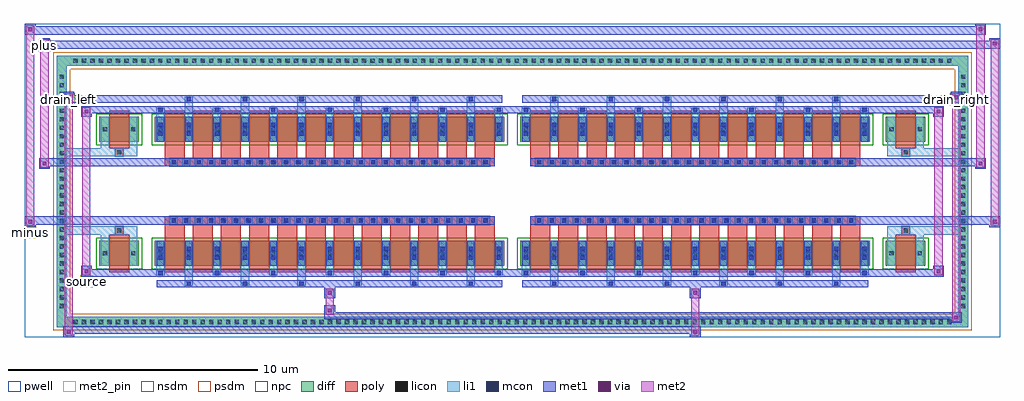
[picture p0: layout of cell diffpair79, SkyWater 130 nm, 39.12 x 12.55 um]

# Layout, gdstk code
import gdstk
lib = gdstk.Library(unit=1e-6, precision=5e-09)
def R(c, l, rs):  # rectangles x0, y0, x1, y1
    for r in rs: c.add(gdstk.rectangle(r[:2], r[2:], *l))
def A(c, l, x, y, w, h, nx, ny, dx, dy):  # array of equal rectangles
    R(c, l, [(x+i*dx, y+j*dy, x+i*dx+w, y+j*dy+h) for i in range(nx) for j in range(ny)])
def P(c, l, *ps):  # polygons
    for p in ps: c.add(gdstk.Polygon(p, *l))
pwell = (64, 44)
diff = (65, 20)
poly = (66, 20)
licon = (66, 44)
li1 = (67, 20)
mcon = (67, 44)
met1 = (68, 20)
via = (68, 44)
met2_pin = (69, 16)
met2 = (69, 20)
nsdm = (93, 44)
psdm = (94, 20)
npc = (95, 20)

diffpair79 = lib.new_cell('diffpair79')
R(diffpair79, pwell, [(-19.54,-5.84,19.54,6.71), (-16.86,-4.03,-0.01,-0.805), (0.01,-4.03,16.86,-0.805), (-16.86,0.805,-0.01,4.03), (0.01,0.805,16.86,4.03)])
A(diffpair79, diff, -17.715, -5.44, 0.41, 0.41, 104, 2, 0.34, 10.47)
A(diffpair79, diff, -18.27, -4.795, 0.41, 0.41, 1, 28, 0, 0.34)
A(diffpair79, diff, 17.86, -4.795, 0.41, 0.41, 1, 28, 0, 0.34)
R(diffpair79, diff, [(-17.715,-5.44,17.715,-5.03), (-18.27,-4.795,-17.86,4.795), (17.86,-4.795,18.27,4.795), (-16.55,-2.985,-14.97,-1.985), (-14.33,-2.985,-0.32,-1.985), (0.32,-2.985,14.33,-1.985), (14.97,-2.985,16.55,-1.985), (-16.55,1.985,-14.97,2.985), (-14.33,1.985,-0.32,2.985), (0.32,1.985,14.33,2.985), (14.97,1.985,16.55,2.985), (-17.715,5.03,17.715,5.44)])
P(diffpair79, diff, [(18.27,5.44),(-18.27,5.44),(-18.27,-5.03),(-17.86,-5.03),(-17.86,5.03),(17.86,5.03),(17.86,-5.03),(-17.86,-5.03),(-18.27,-5.03),(-18.27,-5.44),(18.27,-5.44)])
A(diffpair79, poly, -13.94, -3.235, 0.8, 1.5, 12, 2, 1.13, 4.97)
A(diffpair79, poly, 0.71, -3.235, 0.8, 1.5, 12, 2, 1.13, 4.97)
A(diffpair79, poly, -13.94, -1.735, 0.8, 0.4, 12, 2, 1.13, 3.07)
A(diffpair79, poly, 0.71, -1.735, 0.8, 0.4, 12, 2, 1.13, 3.07)
A(diffpair79, poly, -13.74, -1.335, 0.33, 0.33, 26, 2, 0.5, 2.34)
A(diffpair79, poly, 0.91, -1.335, 0.33, 0.33, 26, 2, 0.5, 2.34)
R(diffpair79, poly, [(-16.16,-3.235,-15.36,-1.735), (15.36,-3.235,16.16,-1.735), (-15.925,-1.735,-15.595,-1.405), (-15.925,-1.735,-15.595,-1.405), (15.595,-1.735,15.925,-1.405), (15.595,-1.735,15.925,-1.405), (-13.94,-1.335,-0.71,-1.005), (0.71,-1.335,13.94,-1.005), (-13.94,1.005,-0.71,1.335), (0.71,1.005,13.94,1.335), (-15.925,1.405,-15.595,1.735), (-15.925,1.405,-15.595,1.735), (15.595,1.405,15.925,1.735), (15.595,1.405,15.925,1.735), (-16.16,1.735,-15.36,3.235), (15.36,1.735,16.16,3.235)])
A(diffpair79, licon, -17.595, -5.32, 0.17, 0.17, 104, 2, 0.34, 10.47)
A(diffpair79, licon, -18.15, -4.675, 0.17, 0.17, 1, 28, 0, 0.34)
A(diffpair79, licon, 17.98, -4.675, 0.17, 0.17, 1, 28, 0, 0.34)
A(diffpair79, licon, -14.19, -2.57, 0.17, 0.17, 13, 2, 1.13, 4.97)
A(diffpair79, licon, 0.46, -2.57, 0.17, 0.17, 13, 2, 1.13, 4.97)
A(diffpair79, licon, -13.66, -1.255, 0.17, 0.17, 26, 2, 0.5, 2.34)
A(diffpair79, licon, 0.99, -1.255, 0.17, 0.17, 26, 2, 0.5, 2.34)
R(diffpair79, licon, [(-16.41,-2.57,-16.24,-2.4), (-15.28,-2.57,-15.11,-2.4), (15.11,-2.57,15.28,-2.4), (16.24,-2.57,16.41,-2.4), (-15.845,-1.655,-15.675,-1.485), (15.675,-1.655,15.845,-1.485), (-15.845,1.485,-15.675,1.655), (15.675,1.485,15.845,1.655), (-16.41,2.4,-16.24,2.57), (-15.28,2.4,-15.11,2.57), (15.11,2.4,15.28,2.57), (16.24,2.4,16.41,2.57)])
A(diffpair79, li1, -17.675, -5.4, 0.33, 0.33, 104, 2, 0.34, 10.47)
A(diffpair79, li1, -18.23, -4.755, 0.33, 0.33, 1, 28, 0, 0.34)
A(diffpair79, li1, 17.9, -4.755, 0.33, 0.33, 1, 28, 0, 0.34)
A(diffpair79, li1, -13.14, -3.79, 0.33, 0.805, 6, 2, 2.26, 6.775)
A(diffpair79, li1, -13.06, -3.79, 0.17, 0.17, 6, 2, 2.26, 7.41)
A(diffpair79, li1, 1.51, -3.79, 0.33, 0.805, 6, 2, 2.26, 6.775)
A(diffpair79, li1, 1.59, -3.79, 0.17, 0.17, 6, 2, 2.26, 7.41)
A(diffpair79, li1, -14.27, -3.36, 0.33, 0.375, 7, 2, 2.26, 6.345)
A(diffpair79, li1, -14.19, -3.36, 0.17, 0.17, 7, 2, 2.26, 6.55)
A(diffpair79, li1, 0.38, -3.36, 0.33, 0.375, 7, 2, 2.26, 6.345)
A(diffpair79, li1, 0.46, -3.36, 0.17, 0.17, 7, 2, 2.26, 6.55)
A(diffpair79, li1, -14.27, -2.985, 0.33, 1, 13, 2, 1.13, 4.97)
A(diffpair79, li1, 0.38, -2.985, 0.33, 1, 13, 2, 1.13, 4.97)
A(diffpair79, li1, -14.19, -2.75, 0.17, 0.17, 13, 2, 1.13, 0.36)
A(diffpair79, li1, -14.19, -2.75, 0.17, 0.53, 13, 2, 1.13, 4.97)
A(diffpair79, li1, 0.46, -2.75, 0.17, 0.17, 13, 2, 1.13, 0.36)
A(diffpair79, li1, 0.46, -2.75, 0.17, 0.53, 13, 2, 1.13, 4.97)
A(diffpair79, li1, -14.27, -2.65, 0.33, 0.33, 13, 2, 1.13, 4.97)
A(diffpair79, li1, 0.38, -2.65, 0.33, 0.33, 13, 2, 1.13, 4.97)
A(diffpair79, li1, -13.74, -1.335, 0.33, 0.33, 26, 2, 0.5, 2.34)
A(diffpair79, li1, 0.91, -1.335, 0.33, 0.33, 26, 2, 0.5, 2.34)
A(diffpair79, li1, -14.19, 2.22, 0.17, 0.17, 13, 2, 1.13, 0.36)
A(diffpair79, li1, 0.46, 2.22, 0.17, 0.17, 13, 2, 1.13, 0.36)
R(diffpair79, li1, [(-18.27,-5.44,-17.86,-5.03), (-18.27,-5.44,-17.86,-5.03), (-17.86,-5.44,17.86,-5.03), (17.86,-5.44,18.27,-5.03), (17.86,-5.44,18.27,-5.03), (-18.27,-5.03,-17.86,5.03), (17.86,-5.03,18.27,5.03), (-16.49,-2.985,-16.16,-1.985), (-15.36,-2.985,-15.03,-1.985), (15.03,-2.985,15.36,-1.985), (16.16,-2.985,16.49,-1.985), (-16.49,-2.65,-16.16,-2.32), (-15.36,-2.65,-15.03,-2.32), (15.03,-2.65,15.36,-2.32), (16.16,-2.65,16.49,-2.32), (-16.49,-1.985,-16.16,-1.405), (-15.36,-1.985,-15.03,-1.405), (15.03,-1.985,15.36,-1.405), (16.16,-1.985,16.49,-1.405), (-18.27,-1.735,-15.925,-1.405), (-16.49,-1.735,-15.925,-1.405), (-15.925,-1.735,-15.595,-1.405), (-15.595,-1.735,-15.03,-1.405), (15.03,-1.735,15.595,-1.405), (15.595,-1.735,15.925,-1.405), (15.595,-1.735,18.27,-1.405), (15.925,-1.735,16.49,-1.405), (-18.27,1.405,-15.925,1.735), (-16.49,1.405,-15.925,1.735), (-16.49,1.405,-16.16,1.985), (-15.925,1.405,-15.595,1.735), (-15.595,1.405,-15.03,1.735), (-15.36,1.405,-15.03,1.985), (15.03,1.405,15.595,1.735), (15.03,1.405,15.36,1.985), (15.595,1.405,15.925,1.735), (15.595,1.405,18.27,1.735), (15.925,1.405,16.49,1.735), (16.16,1.405,16.49,1.985), (-16.49,1.985,-16.16,2.985), (-15.36,1.985,-15.03,2.985), (15.03,1.985,15.36,2.985), (16.16,1.985,16.49,2.985), (-16.49,2.32,-16.16,2.65), (-15.36,2.32,-15.03,2.65), (15.03,2.32,15.36,2.65), (16.16,2.32,16.49,2.65), (-18.27,5.03,-17.86,5.44), (-18.27,5.03,-17.86,5.44), (-17.86,5.03,17.86,5.44), (17.86,5.03,18.27,5.44), (17.86,5.03,18.27,5.44)])
A(diffpair79, mcon, -13.06, -3.79, 0.17, 0.17, 6, 2, 2.26, 7.41)
A(diffpair79, mcon, 1.59, -3.79, 0.17, 0.17, 6, 2, 2.26, 7.41)
A(diffpair79, mcon, -14.19, -3.36, 0.17, 0.17, 7, 2, 2.26, 6.55)
A(diffpair79, mcon, 0.46, -3.36, 0.17, 0.17, 7, 2, 2.26, 6.55)
A(diffpair79, mcon, -14.19, -2.75, 0.17, 0.17, 13, 2, 1.13, 0.36)
A(diffpair79, mcon, 0.46, -2.75, 0.17, 0.17, 13, 2, 1.13, 0.36)
A(diffpair79, mcon, -13.66, -1.255, 0.17, 0.17, 26, 2, 0.5, 2.34)
A(diffpair79, mcon, 0.99, -1.255, 0.17, 0.17, 26, 2, 0.5, 2.34)
A(diffpair79, mcon, -14.19, 2.22, 0.17, 0.17, 13, 2, 1.13, 0.36)
A(diffpair79, mcon, 0.46, 2.22, 0.17, 0.17, 13, 2, 1.13, 0.36)
A(diffpair79, met1, -13.12, -3.85, 0.29, 0.29, 6, 2, 2.26, 7.41)
A(diffpair79, met1, 1.53, -3.85, 0.29, 0.29, 6, 2, 2.26, 7.41)
A(diffpair79, met1, -14.25, -3.42, 0.29, 0.29, 7, 2, 2.26, 6.55)
A(diffpair79, met1, 0.4, -3.42, 0.29, 0.29, 7, 2, 2.26, 6.55)
A(diffpair79, met1, -14.25, -2.985, 0.29, 1, 13, 2, 1.13, 4.97)
A(diffpair79, met1, 0.4, -2.985, 0.29, 1, 13, 2, 1.13, 4.97)
A(diffpair79, met1, -14.25, -2.81, 0.29, 0.29, 13, 2, 1.13, 0.36)
A(diffpair79, met1, 0.4, -2.81, 0.29, 0.29, 13, 2, 1.13, 0.36)
A(diffpair79, met1, -13.72, -1.315, 0.29, 0.29, 26, 2, 0.5, 2.34)
A(diffpair79, met1, 0.93, -1.315, 0.29, 0.29, 26, 2, 0.5, 2.34)
A(diffpair79, met1, -14.25, 2.16, 0.29, 0.29, 13, 2, 1.13, 0.36)
A(diffpair79, met1, 0.4, 2.16, 0.29, 0.29, 13, 2, 1.13, 0.36)
R(diffpair79, met1, [(-18,-5.84,-17.57,-5.41), (7.11,-5.84,7.54,-5.41), (-18,-5.7,7.54,-5.41), (17.57,-5.27,18,-4.84), (-7.54,-5.13,18,-4.84), (-7.54,-4.99,-7.11,-4.56), (-7.54,-4.28,-7.11,-3.85), (7.11,-4.28,7.54,-3.85), (-14.25,-3.85,-0.4,-3.56), (0.4,-3.85,14.25,-3.56), (-17.29,-3.42,-16.86,-2.99), (-17.29,-3.42,-14.25,-3.13), (-14.25,-3.42,-0.4,-3.13), (-0.4,-3.42,0.4,-3.13), (0.4,-3.42,14.25,-3.13), (14.25,-3.42,17.29,-3.13), (16.86,-3.42,17.29,-2.99), (-19.54,-1.435,-19.11,-1.005), (19.11,-1.435,19.54,-1.005), (-19.54,-1.335,-0.71,-1.005), (-13.94,-1.335,-0.71,-1.005), (0.71,-1.335,13.94,-1.005), (0.71,-1.335,19.54,-1.005), (-18.97,0.905,-18.54,1.335), (18.54,0.905,18.97,1.335), (-18.97,1.005,-13.94,1.335), (-13.94,1.005,-0.71,1.335), (0.71,1.005,13.94,1.335), (13.94,1.005,18.97,1.335), (-17.29,2.99,-16.86,3.42), (16.86,2.99,17.29,3.42), (-17.29,3.13,-14.25,3.42), (-14.25,3.13,-0.4,3.42), (-0.4,3.13,0.4,3.42), (0.4,3.13,14.25,3.42), (14.25,3.13,17.29,3.42), (-18,3.56,-17.57,3.99), (-18,3.56,-14.25,3.85), (-14.25,3.56,-0.4,3.85), (0.4,3.56,14.25,3.85), (14.25,3.56,18,3.85), (17.57,3.56,18,3.99), (-18.97,5.71,-18.54,6.14), (-18.97,5.71,-16.86,6.04), (-16.86,5.71,16.86,6.04), (16.86,5.71,19.54,6.04), (19.11,5.71,19.54,6.14), (-19.54,6.28,-19.11,6.71), (-19.54,6.28,-16.86,6.61), (-16.86,6.28,16.86,6.61), (16.86,6.28,18.97,6.61), (18.54,6.28,18.97,6.71)])
R(diffpair79, via, [(-17.86,-5.7,-17.71,-5.55), (7.25,-5.7,7.4,-5.55), (17.71,-5.13,17.86,-4.98), (-7.4,-4.85,-7.25,-4.7), (-7.4,-4.14,-7.25,-3.99), (7.25,-4.14,7.4,-3.99), (-17.15,-3.28,-17,-3.13), (17,-3.28,17.15,-3.13), (-19.4,-1.295,-19.25,-1.145), (19.25,-1.295,19.4,-1.145), (-18.83,1.045,-18.68,1.195), (18.68,1.045,18.83,1.195), (-17.15,3.13,-17,3.28), (17,3.13,17.15,3.28), (-17.86,3.7,-17.71,3.85), (17.71,3.7,17.86,3.85), (-18.83,5.85,-18.68,6), (19.25,5.85,19.4,6), (-19.4,6.42,-19.25,6.57), (18.68,6.42,18.83,6.57)])
R(diffpair79, met2_pin, [(-17.325,-3.87,-16.825,-3.37), (-19.575,-1.885,-19.075,-1.385), (-18.035,3.44,-17.535,3.94), (17.535,3.44,18.035,3.94), (-19.005,5.59,-18.505,6.09)])
R(diffpair79, met2, [(-17.95,-5.79,-17.62,-5.46), (-17.95,-5.79,-17.62,3.94), (7.16,-5.79,7.49,-5.46), (7.16,-5.46,7.49,-4.23), (17.62,-5.22,17.95,-4.89), (17.62,-5.22,17.95,3.94), (-7.49,-4.94,-7.16,-4.61), (-7.49,-4.61,-7.16,-4.23), (-7.49,-4.23,-7.16,-3.9), (7.16,-4.23,7.49,-3.9), (-17.24,-3.37,-16.91,-3.04), (-17.24,-3.37,-16.91,3.37), (16.91,-3.37,17.24,-3.04), (16.91,-3.37,17.24,3.37), (-19.49,-1.385,-19.16,-1.055), (-19.49,-1.385,-19.16,6.66), (19.16,-1.385,19.49,-1.055), (19.16,-1.385,19.49,6.09), (-18.92,0.955,-18.59,1.285), (-18.92,0.955,-18.59,6.09), (18.59,0.955,18.92,1.285), (18.59,0.955,18.92,6.66), (-17.24,3.04,-16.91,3.37), (16.91,3.04,17.24,3.37), (-17.95,3.61,-17.62,3.94), (17.62,3.61,17.95,3.94), (-18.92,5.76,-18.59,6.09), (19.16,5.76,19.49,6.09), (-19.49,6.33,-19.16,6.66), (18.59,6.33,18.92,6.66)])
P(diffpair79, met2, [(19.49,-1.385),(19.49,-1.385),(19.49,-1.055),(19.49,-1.055)],
  [(19.49,5.76),(19.49,5.76),(19.49,6.09),(19.49,6.09)],
  [(-19.16,-1.385),(-19.16,-1.385),(-19.16,-1.055),(-19.16,-1.055)],
  [(-19.16,6.33),(-19.16,6.33),(-19.16,6.66),(-19.16,6.66)],
  [(18.92,0.955),(18.92,0.955),(18.92,1.285),(18.92,1.285)],
  [(18.92,6.33),(18.92,6.33),(18.92,6.66),(18.92,6.66)],
  [(-18.59,0.955),(-18.59,0.955),(-18.59,1.285),(-18.59,1.285)],
  [(-18.59,5.76),(-18.59,5.76),(-18.59,6.09),(-18.59,6.09)],
  [(-17.62,-5.79),(-17.62,-5.79),(-17.62,-5.46),(-17.62,-5.46)],
  [(-17.62,3.61),(-17.62,3.61),(-17.62,3.94),(-17.62,3.94)],
  [(17.95,-5.22),(17.95,-5.22),(17.95,-4.89),(17.95,-4.89)],
  [(17.95,3.61),(17.95,3.61),(17.95,3.94),(17.95,3.94)],
  [(-16.91,-3.37),(-16.91,-3.37),(-16.91,-3.04),(-16.91,-3.04)],
  [(-16.91,3.04),(-16.91,3.04),(-16.91,3.37),(-16.91,3.37)],
  [(17.24,-3.37),(17.24,-3.37),(17.24,-3.04),(17.24,-3.04)],
  [(17.24,3.04),(17.24,3.04),(17.24,3.37),(17.24,3.37)])
R(diffpair79, nsdm, [(-16.68,-3.115,-14.84,-1.855), (-14.46,-3.115,-0.19,-1.855), (0.19,-3.115,14.46,-1.855), (14.84,-3.115,16.68,-1.855), (-16.68,1.855,-14.84,3.115), (-14.46,1.855,-0.19,3.115), (0.19,1.855,14.46,3.115), (14.84,1.855,16.68,3.115)])
P(diffpair79, psdm, [(18.4,5.57),(-18.4,5.57),(-18.4,-4.9),(-17.73,-4.9),(-17.73,4.9),(17.73,4.9),(17.73,-4.9),(-17.73,-4.9),(-18.4,-4.9),(-18.4,-5.57),(18.4,-5.57)])
A(diffpair79, npc, -13.76, -1.355, 0.37, 0.37, 26, 2, 0.5, 2.34)
A(diffpair79, npc, 0.89, -1.355, 0.37, 0.37, 26, 2, 0.5, 2.34)
R(diffpair79, npc, [(-15.945,-1.755,-15.575,-1.385), (15.575,-1.755,15.945,-1.385), (-13.76,-1.355,-12.89,-0.985), (-13.76,-1.355,-12.89,-0.985), (-13.26,-1.355,-12.39,-0.985), (-13.26,-1.355,-12.39,-0.985), (-12.76,-1.355,-11.89,-0.985), (-12.76,-1.355,-11.89,-0.985), (-12.26,-1.355,-11.39,-0.985), (-12.26,-1.355,-11.39,-0.985), (-11.76,-1.355,-10.89,-0.985), (-11.76,-1.355,-10.89,-0.985), (-11.26,-1.355,-10.39,-0.985), (-11.26,-1.355,-10.39,-0.985), (-10.76,-1.355,-9.89,-0.985), (-10.76,-1.355,-9.89,-0.985), (-10.26,-1.355,-9.39,-0.985), (-10.26,-1.355,-9.39,-0.985), (-9.76,-1.355,-8.89,-0.985), (-9.76,-1.355,-8.89,-0.985), (-9.26,-1.355,-8.39,-0.985), (-9.26,-1.355,-8.39,-0.985), (-8.76,-1.355,-7.89,-0.985), (-8.76,-1.355,-7.89,-0.985), (-8.26,-1.355,-7.39,-0.985), (-8.26,-1.355,-7.39,-0.985), (-7.76,-1.355,-6.89,-0.985), (-7.76,-1.355,-6.89,-0.985), (-7.26,-1.355,-6.39,-0.985), (-7.26,-1.355,-6.39,-0.985), (-6.76,-1.355,-5.89,-0.985), (-6.76,-1.355,-5.89,-0.985), (-6.26,-1.355,-5.39,-0.985), (-6.26,-1.355,-5.39,-0.985), (-5.76,-1.355,-4.89,-0.985), (-5.76,-1.355,-4.89,-0.985), (-5.26,-1.355,-4.39,-0.985), (-5.26,-1.355,-4.39,-0.985), (-4.76,-1.355,-3.89,-0.985), (-4.76,-1.355,-3.89,-0.985), (-4.26,-1.355,-3.39,-0.985), (-4.26,-1.355,-3.39,-0.985), (-3.76,-1.355,-2.89,-0.985), (-3.76,-1.355,-2.89,-0.985), (-3.26,-1.355,-2.39,-0.985), (-3.26,-1.355,-2.39,-0.985), (-2.76,-1.355,-1.89,-0.985), (-2.76,-1.355,-1.89,-0.985), (-2.26,-1.355,-1.39,-0.985), (-2.26,-1.355,-1.39,-0.985), (-1.76,-1.355,-0.89,-0.985), (-1.76,-1.355,-0.89,-0.985), (0.89,-1.355,1.76,-0.985), (0.89,-1.355,1.76,-0.985), (1.39,-1.355,2.26,-0.985), (1.39,-1.355,2.26,-0.985), (1.89,-1.355,2.76,-0.985), (1.89,-1.355,2.76,-0.985), (2.39,-1.355,3.26,-0.985), (2.39,-1.355,3.26,-0.985), (2.89,-1.355,3.76,-0.985), (2.89,-1.355,3.76,-0.985), (3.39,-1.355,4.26,-0.985), (3.39,-1.355,4.26,-0.985), (3.89,-1.355,4.76,-0.985), (3.89,-1.355,4.76,-0.985), (4.39,-1.355,5.26,-0.985), (4.39,-1.355,5.26,-0.985), (4.89,-1.355,5.76,-0.985), (4.89,-1.355,5.76,-0.985), (5.39,-1.355,6.26,-0.985), (5.39,-1.355,6.26,-0.985), (5.89,-1.355,6.76,-0.985), (5.89,-1.355,6.76,-0.985), (6.39,-1.355,7.26,-0.985), (6.39,-1.355,7.26,-0.985), (6.89,-1.355,7.76,-0.985), (6.89,-1.355,7.76,-0.985), (7.39,-1.355,8.26,-0.985), (7.39,-1.355,8.26,-0.985), (7.89,-1.355,8.76,-0.985), (7.89,-1.355,8.76,-0.985), (8.39,-1.355,9.26,-0.985), (8.39,-1.355,9.26,-0.985), (8.89,-1.355,9.76,-0.985), (8.89,-1.355,9.76,-0.985), (9.39,-1.355,10.26,-0.985), (9.39,-1.355,10.26,-0.985), (9.89,-1.355,10.76,-0.985), (9.89,-1.355,10.76,-0.985), (10.39,-1.355,11.26,-0.985), (10.39,-1.355,11.26,-0.985), (10.89,-1.355,11.76,-0.985), (10.89,-1.355,11.76,-0.985), (11.39,-1.355,12.26,-0.985), (11.39,-1.355,12.26,-0.985), (11.89,-1.355,12.76,-0.985), (11.89,-1.355,12.76,-0.985), (12.39,-1.355,13.26,-0.985), (12.39,-1.355,13.26,-0.985), (12.89,-1.355,13.76,-0.985), (12.89,-1.355,13.76,-0.985), (-13.76,0.985,-12.89,1.355), (-13.76,0.985,-12.89,1.355), (-13.26,0.985,-12.39,1.355), (-13.26,0.985,-12.39,1.355), (-12.76,0.985,-11.89,1.355), (-12.76,0.985,-11.89,1.355), (-12.26,0.985,-11.39,1.355), (-12.26,0.985,-11.39,1.355), (-11.76,0.985,-10.89,1.355), (-11.76,0.985,-10.89,1.355), (-11.26,0.985,-10.39,1.355), (-11.26,0.985,-10.39,1.355), (-10.76,0.985,-9.89,1.355), (-10.76,0.985,-9.89,1.355), (-10.26,0.985,-9.39,1.355), (-10.26,0.985,-9.39,1.355), (-9.76,0.985,-8.89,1.355), (-9.76,0.985,-8.89,1.355), (-9.26,0.985,-8.39,1.355), (-9.26,0.985,-8.39,1.355), (-8.76,0.985,-7.89,1.355), (-8.76,0.985,-7.89,1.355), (-8.26,0.985,-7.39,1.355), (-8.26,0.985,-7.39,1.355), (-7.76,0.985,-6.89,1.355), (-7.76,0.985,-6.89,1.355), (-7.26,0.985,-6.39,1.355), (-7.26,0.985,-6.39,1.355), (-6.76,0.985,-5.89,1.355), (-6.76,0.985,-5.89,1.355), (-6.26,0.985,-5.39,1.355), (-6.26,0.985,-5.39,1.355), (-5.76,0.985,-4.89,1.355), (-5.76,0.985,-4.89,1.355), (-5.26,0.985,-4.39,1.355), (-5.26,0.985,-4.39,1.355), (-4.76,0.985,-3.89,1.355), (-4.76,0.985,-3.89,1.355), (-4.26,0.985,-3.39,1.355), (-4.26,0.985,-3.39,1.355), (-3.76,0.985,-2.89,1.355), (-3.76,0.985,-2.89,1.355), (-3.26,0.985,-2.39,1.355), (-3.26,0.985,-2.39,1.355), (-2.76,0.985,-1.89,1.355), (-2.76,0.985,-1.89,1.355), (-2.26,0.985,-1.39,1.355), (-2.26,0.985,-1.39,1.355), (-1.76,0.985,-0.89,1.355), (-1.76,0.985,-0.89,1.355), (0.89,0.985,1.76,1.355), (0.89,0.985,1.76,1.355), (1.39,0.985,2.26,1.355), (1.39,0.985,2.26,1.355), (1.89,0.985,2.76,1.355), (1.89,0.985,2.76,1.355), (2.39,0.985,3.26,1.355), (2.39,0.985,3.26,1.355), (2.89,0.985,3.76,1.355), (2.89,0.985,3.76,1.355), (3.39,0.985,4.26,1.355), (3.39,0.985,4.26,1.355), (3.89,0.985,4.76,1.355), (3.89,0.985,4.76,1.355), (4.39,0.985,5.26,1.355), (4.39,0.985,5.26,1.355), (4.89,0.985,5.76,1.355), (4.89,0.985,5.76,1.355), (5.39,0.985,6.26,1.355), (5.39,0.985,6.26,1.355), (5.89,0.985,6.76,1.355), (5.89,0.985,6.76,1.355), (6.39,0.985,7.26,1.355), (6.39,0.985,7.26,1.355), (6.89,0.985,7.76,1.355), (6.89,0.985,7.76,1.355), (7.39,0.985,8.26,1.355), (7.39,0.985,8.26,1.355), (7.89,0.985,8.76,1.355), (7.89,0.985,8.76,1.355), (8.39,0.985,9.26,1.355), (8.39,0.985,9.26,1.355), (8.89,0.985,9.76,1.355), (8.89,0.985,9.76,1.355), (9.39,0.985,10.26,1.355), (9.39,0.985,10.26,1.355), (9.89,0.985,10.76,1.355), (9.89,0.985,10.76,1.355), (10.39,0.985,11.26,1.355), (10.39,0.985,11.26,1.355), (10.89,0.985,11.76,1.355), (10.89,0.985,11.76,1.355), (11.39,0.985,12.26,1.355), (11.39,0.985,12.26,1.355), (11.89,0.985,12.76,1.355), (11.89,0.985,12.76,1.355), (12.39,0.985,13.26,1.355), (12.39,0.985,13.26,1.355), (12.89,0.985,13.76,1.355), (12.89,0.985,13.76,1.355), (-15.945,1.385,-15.575,1.755), (15.575,1.385,15.945,1.755)])
diffpair79.add(gdstk.Label('minus', (-19.325,-1.635), layer=69, texttype=5))
diffpair79.add(gdstk.Label('drain_right', (17.785,3.69), layer=69, texttype=5))
diffpair79.add(gdstk.Label('drain_left', (-17.785,3.69), layer=69, texttype=5))
diffpair79.add(gdstk.Label('source', (-17.075,-3.62), layer=69, texttype=5))
diffpair79.add(gdstk.Label('plus', (-18.755,5.84), layer=69, texttype=5))

lib.write_gds('diffpair79.gds')
